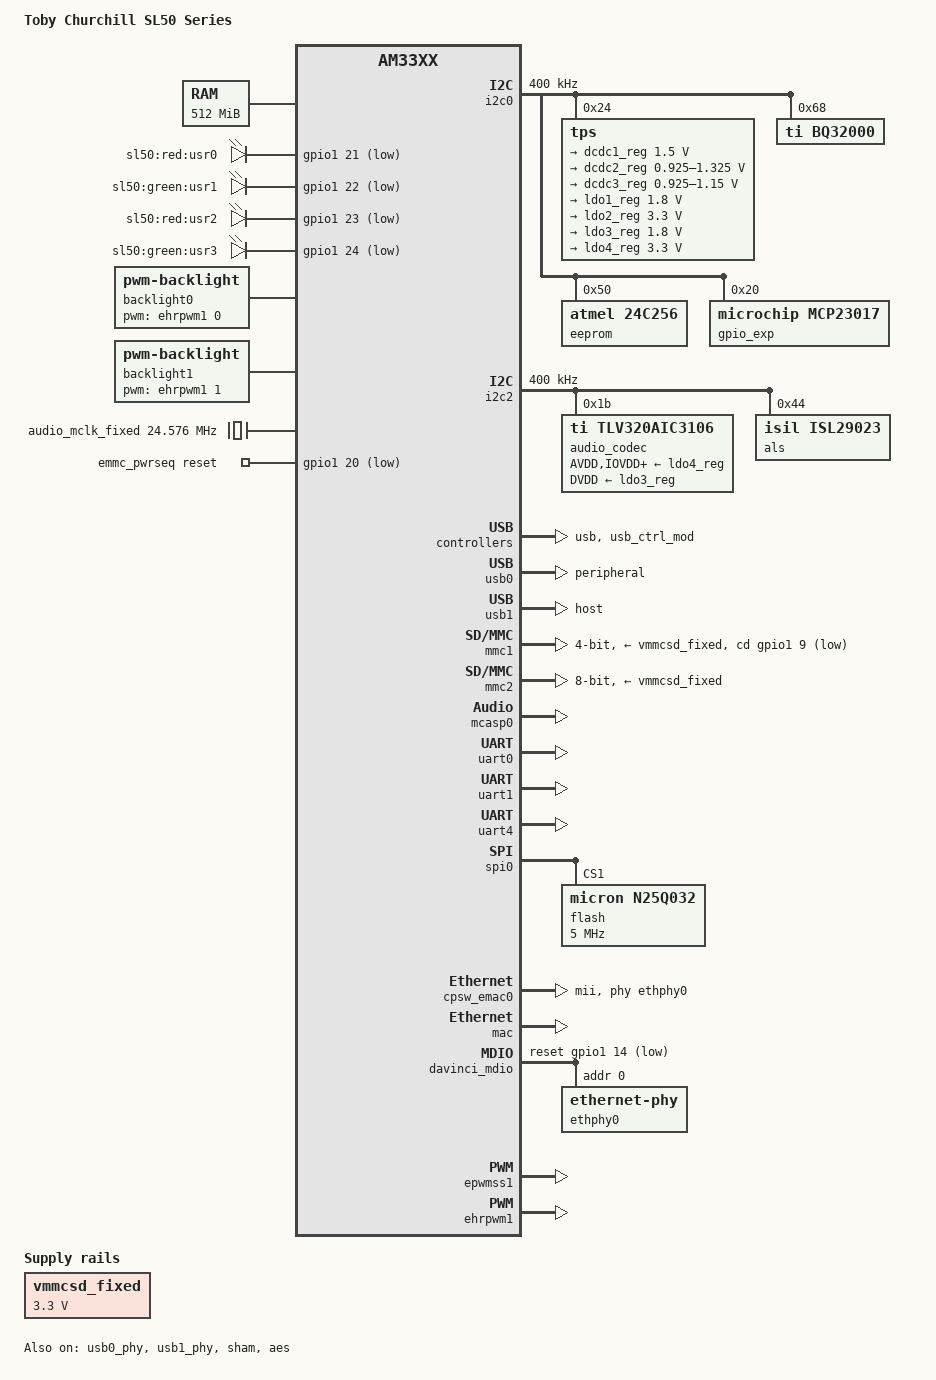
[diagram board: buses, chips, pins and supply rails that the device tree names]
// SPDX-License-Identifier: GPL-2.0-only
/*
 * Copyright (C) 2015 Toby Churchill - http://www.toby-churchill.com/
 */
/dts-v1/;

#include "am33xx.dtsi"

/ {
	model = "Toby Churchill SL50 Series";
	compatible = "tcl,am335x-sl50", "ti,am33xx";

	cpus {
		cpu@0 {
			cpu0-supply = <&dcdc2_reg>;
		};
	};

	memory@80000000 {
		device_type = "memory";
		reg = <0x80000000 0x20000000>; /* 512 MB */
	};

	chosen {
		stdout-path = &uart0;
	};

	leds {
		compatible = "gpio-leds";
		pinctrl-names = "default";
		pinctrl-0 = <&led_pins>;

		led0 {
			label = "sl50:red:usr0";
			gpios = <&gpio1 21 GPIO_ACTIVE_LOW>;
			default-state = "off";
		};

		led1 {
			label = "sl50:green:usr1";
			gpios = <&gpio1 22 GPIO_ACTIVE_LOW>;
			default-state = "off";
		};

		led2 {
			label = "sl50:red:usr2";
			gpios = <&gpio1 23 GPIO_ACTIVE_LOW>;
			default-state = "off";
		};

		led3 {
			label = "sl50:green:usr3";
			gpios = <&gpio1 24 GPIO_ACTIVE_LOW>;
			default-state = "off";
		};
	};

	backlight0: disp0 {
		compatible = "pwm-backlight";
		pwms = <&ehrpwm1 0 500000 0>;
		brightness-levels = <0 10 20 30 40 50 60 70 80 90 99>;
		default-brightness-level = <6>;
	};

	backlight1: disp1 {
		compatible = "pwm-backlight";
		pwms = <&ehrpwm1 1 500000 0>;
		brightness-levels = <0 10 20 30 40 50 60 70 80 90 99>;
		default-brightness-level = <6>;
	};

	clocks {
		compatible = "simple-bus";
		#address-cells = <1>;
		#size-cells = <0>;

		/* audio external oscillator */
		audio_mclk_fixed: oscillator@0 {
			compatible = "fixed-clock";
			#clock-cells = <0>;
			clock-frequency  = <24576000>;	/* 24.576MHz */
		};
	};

	sound {
		compatible = "ti,da830-evm-audio";
		ti,model = "AM335x-SL50";
		ti,audio-codec = <&audio_codec>;
		ti,mcasp-controller = <&mcasp0>;

		clocks = <&audio_mclk_fixed>;
		clock-names = "mclk";

		ti,audio-routing =
			"Headphone Jack",	"HPLOUT",
			"Headphone Jack",	"HPROUT",
			"LINE1R",               "Line In",
			"LINE1L",		"Line In";
	};

	emmc_pwrseq: pwrseq@0 {
		compatible = "mmc-pwrseq-emmc";
		pinctrl-names = "default";
		pinctrl-0 = <&emmc_pwrseq_pins>;
		reset-gpios = <&gpio1 20 GPIO_ACTIVE_LOW>;
	};

	vmmcsd_fixed: fixedregulator0 {
		compatible = "regulator-fixed";
		regulator-name = "vmmcsd_fixed";
		regulator-min-microvolt = <3300000>;
		regulator-max-microvolt = <3300000>;
	};
};

&am33xx_pinmux {
	pinctrl-names = "default";
	pinctrl-0 = <&lwb_pins>;

	led_pins: pinmux_led_pins {
		pinctrl-single,pins = <
			AM33XX_PADCONF(AM335X_PIN_GPMC_A5, PIN_OUTPUT, MUX_MODE7)	/* gpmc_a5.gpio1_21 */
			AM33XX_PADCONF(AM335X_PIN_GPMC_A6, PIN_OUTPUT, MUX_MODE7)	/* gpmc_a6.gpio1_22 */
			AM33XX_PADCONF(AM335X_PIN_GPMC_A7, PIN_OUTPUT, MUX_MODE7)	/* gpmc_a7.gpio1_23 */
			AM33XX_PADCONF(AM335X_PIN_GPMC_A8, PIN_OUTPUT, MUX_MODE7)	/* gpmc_a8.gpio1_24 */
		>;
	};

	uart0_pins: pinmux_uart0_pins {
		pinctrl-single,pins = <
			AM33XX_PADCONF(AM335X_PIN_UART0_RXD, PIN_INPUT_PULLUP, MUX_MODE0)
			AM33XX_PADCONF(AM335X_PIN_UART0_TXD, PIN_OUTPUT_PULLDOWN, MUX_MODE0)
		>;
	};

	uart1_pins: pinmux_uart1_pins {
		pinctrl-single,pins = <
			AM33XX_PADCONF(AM335X_PIN_UART1_RXD, PIN_INPUT_PULLUP, MUX_MODE0)
			AM33XX_PADCONF(AM335X_PIN_UART1_TXD, PIN_OUTPUT_PULLDOWN, MUX_MODE0)
		>;
	};

	uart4_pins: pinmux_uart4_pins {
		pinctrl-single,pins = <
			AM33XX_PADCONF(AM335X_PIN_GPMC_WAIT0, PIN_INPUT_PULLUP, MUX_MODE6)	/* gpmc_wait0.uart4_rxd */
			AM33XX_PADCONF(AM335X_PIN_GPMC_WPN, PIN_OUTPUT_PULLDOWN, MUX_MODE6)	/* gpmc_wpn.uart4_txd */
		>;
	};

	i2c0_pins: pinmux_i2c0_pins {
		pinctrl-single,pins = <
			AM33XX_PADCONF(AM335X_PIN_I2C0_SDA, PIN_INPUT_PULLUP, MUX_MODE0)
			AM33XX_PADCONF(AM335X_PIN_I2C0_SCL, PIN_INPUT_PULLUP, MUX_MODE0)
		>;
	};

	i2c2_pins: pinmux_i2c2_pins {
		pinctrl-single,pins = <
			AM33XX_PADCONF(AM335X_PIN_UART1_CTSN, PIN_INPUT_PULLUP, MUX_MODE3)	/* uart1_ctsn.i2c2_sda */
			AM33XX_PADCONF(AM335X_PIN_UART1_RTSN, PIN_INPUT_PULLUP, MUX_MODE3)	/* uart1_rtsn.i2c2_scl */
		>;
	};

	cpsw_default: cpsw_default {
		pinctrl-single,pins = <
			/* Slave 1 */
			AM33XX_PADCONF(AM335X_PIN_MII1_RX_ER, PIN_INPUT_PULLUP, MUX_MODE0)
			AM33XX_PADCONF(AM335X_PIN_MII1_TX_EN, PIN_OUTPUT_PULLDOWN, MUX_MODE0)
			AM33XX_PADCONF(AM335X_PIN_MII1_RX_DV, PIN_INPUT_PULLUP, MUX_MODE0)
			AM33XX_PADCONF(AM335X_PIN_MII1_TXD3, PIN_OUTPUT_PULLDOWN, MUX_MODE0)
			AM33XX_PADCONF(AM335X_PIN_MII1_TXD2, PIN_OUTPUT_PULLDOWN, MUX_MODE0)
			AM33XX_PADCONF(AM335X_PIN_MII1_TXD1, PIN_OUTPUT_PULLDOWN, MUX_MODE0)
			AM33XX_PADCONF(AM335X_PIN_MII1_TXD0, PIN_OUTPUT_PULLDOWN, MUX_MODE0)
			AM33XX_PADCONF(AM335X_PIN_MII1_TX_CLK, PIN_INPUT_PULLUP, MUX_MODE0)
			AM33XX_PADCONF(AM335X_PIN_MII1_RX_CLK, PIN_INPUT_PULLUP, MUX_MODE0)
			AM33XX_PADCONF(AM335X_PIN_MII1_RXD3, PIN_INPUT_PULLUP, MUX_MODE0)
			AM33XX_PADCONF(AM335X_PIN_MII1_RXD2, PIN_INPUT_PULLUP, MUX_MODE0)
			AM33XX_PADCONF(AM335X_PIN_MII1_RXD1, PIN_INPUT_PULLUP, MUX_MODE0)
			AM33XX_PADCONF(AM335X_PIN_MII1_RXD0, PIN_INPUT_PULLUP, MUX_MODE0)
		>;
	};

	cpsw_sleep: cpsw_sleep {
		pinctrl-single,pins = <
			/* Slave 1 reset value */
			AM33XX_PADCONF(AM335X_PIN_MII1_RX_ER, PIN_INPUT_PULLDOWN, MUX_MODE7)
			AM33XX_PADCONF(AM335X_PIN_MII1_TX_EN, PIN_INPUT_PULLDOWN, MUX_MODE7)
			AM33XX_PADCONF(AM335X_PIN_MII1_RX_DV, PIN_INPUT_PULLDOWN, MUX_MODE7)
			AM33XX_PADCONF(AM335X_PIN_MII1_TXD3, PIN_INPUT_PULLDOWN, MUX_MODE7)
			AM33XX_PADCONF(AM335X_PIN_MII1_TXD2, PIN_INPUT_PULLDOWN, MUX_MODE7)
			AM33XX_PADCONF(AM335X_PIN_MII1_TXD1, PIN_INPUT_PULLDOWN, MUX_MODE7)
			AM33XX_PADCONF(AM335X_PIN_MII1_TXD0, PIN_INPUT_PULLDOWN, MUX_MODE7)
			AM33XX_PADCONF(AM335X_PIN_MII1_TX_CLK, PIN_INPUT_PULLDOWN, MUX_MODE7)
			AM33XX_PADCONF(AM335X_PIN_MII1_RX_CLK, PIN_INPUT_PULLDOWN, MUX_MODE7)
			AM33XX_PADCONF(AM335X_PIN_MII1_RXD3, PIN_INPUT_PULLDOWN, MUX_MODE7)
			AM33XX_PADCONF(AM335X_PIN_MII1_RXD2, PIN_INPUT_PULLDOWN, MUX_MODE7)
			AM33XX_PADCONF(AM335X_PIN_MII1_RXD1, PIN_INPUT_PULLDOWN, MUX_MODE7)
			AM33XX_PADCONF(AM335X_PIN_MII1_RXD0, PIN_INPUT_PULLDOWN, MUX_MODE7)
		>;
	};

	davinci_mdio_default: davinci_mdio_default {
		pinctrl-single,pins = <
			/* MDIO */
			AM33XX_PADCONF(AM335X_PIN_MDIO, PIN_INPUT_PULLUP | SLEWCTRL_FAST, MUX_MODE0)
			AM33XX_PADCONF(AM335X_PIN_MDC, PIN_OUTPUT_PULLUP, MUX_MODE0)
		>;
	};

	davinci_mdio_sleep: davinci_mdio_sleep {
		pinctrl-single,pins = <
			/* MDIO reset value */
			AM33XX_PADCONF(AM335X_PIN_MDIO, PIN_INPUT_PULLDOWN, MUX_MODE7)
			AM33XX_PADCONF(AM335X_PIN_MDC, PIN_INPUT_PULLDOWN, MUX_MODE7)
		>;
	};

	mmc1_pins: pinmux_mmc1_pins {
		pinctrl-single,pins = <
			AM33XX_PADCONF(AM335X_PIN_UART0_RTSN, PIN_INPUT, MUX_MODE7)		/* uart0_rtsn.gpio1_9 */
		>;
	};

	emmc_pwrseq_pins: pinmux_emmc_pwrseq_pins {
		pinctrl-single,pins = <
			AM33XX_PADCONF(AM335X_PIN_GPMC_A4, PIN_OUTPUT_PULLUP, MUX_MODE7)	/* gpmc_a4.gpio1_20 */
		>;
	};

	emmc_pins: pinmux_emmc_pins {
		pinctrl-single,pins = <
			AM33XX_PADCONF(AM335X_PIN_GPMC_CSN1, PIN_INPUT_PULLUP, MUX_MODE2)	/* gpmc_csn1.mmc1_clk */
			AM33XX_PADCONF(AM335X_PIN_GPMC_CSN2, PIN_INPUT_PULLUP, MUX_MODE2)	/* gpmc_csn2.mmc1_cmd */
			AM33XX_PADCONF(AM335X_PIN_GPMC_AD0, PIN_INPUT_PULLUP, MUX_MODE1)	/* gpmc_ad0.mmc1_dat0 */
			AM33XX_PADCONF(AM335X_PIN_GPMC_AD1, PIN_INPUT_PULLUP, MUX_MODE1)	/* gpmc_ad1.mmc1_dat1 */
			AM33XX_PADCONF(AM335X_PIN_GPMC_AD2, PIN_INPUT_PULLUP, MUX_MODE1)	/* gpmc_ad2.mmc1_dat2 */
			AM33XX_PADCONF(AM335X_PIN_GPMC_AD3, PIN_INPUT_PULLUP, MUX_MODE1)	/* gpmc_ad3.mmc1_dat3 */
			AM33XX_PADCONF(AM335X_PIN_GPMC_AD4, PIN_INPUT_PULLUP, MUX_MODE1)	/* gpmc_ad4.mmc1_dat4 */
			AM33XX_PADCONF(AM335X_PIN_GPMC_AD5, PIN_INPUT_PULLUP, MUX_MODE1) 	/* gpmc_ad5.mmc1_dat5 */
			AM33XX_PADCONF(AM335X_PIN_GPMC_AD6, PIN_INPUT_PULLUP, MUX_MODE1)	/* gpmc_ad6.mmc1_dat6 */
			AM33XX_PADCONF(AM335X_PIN_GPMC_AD7, PIN_INPUT_PULLUP, MUX_MODE1)	/* gpmc_ad7.mmc1_dat7 */
		>;
	};

	audio_pins: pinmux_audio_pins {
		pinctrl-single,pins = <
			AM33XX_IOPAD(0x9ac, PIN_INPUT_PULLDOWN | MUX_MODE0)	/* mcasp0_ahcklx.mcasp0_ahclkx */
			AM33XX_IOPAD(0x994, PIN_INPUT_PULLDOWN | MUX_MODE0)	/* mcasp0_fsx.mcasp0_fsx */
			AM33XX_IOPAD(0x990, PIN_INPUT_PULLDOWN | MUX_MODE0)	/* mcasp0_aclkx.mcasp0_aclkx */
			AM33XX_IOPAD(0x998, PIN_INPUT_PULLDOWN | MUX_MODE0)	/* mcasp0_axr0.mcasp0_axr0 */
			AM33XX_IOPAD(0x99c, PIN_OUTPUT_PULLDOWN | MUX_MODE2)	/* mcasp0_ahclkr.mcasp0_axr2 */
		>;
	};

	ehrpwm1_pins: pinmux_ehrpwm1a_pins {
		pinctrl-single,pins = <
			AM33XX_IOPAD(0x848, PIN_OUTPUT | MUX_MODE6)	/* gpmc_a2.ehrpwm1a */
			AM33XX_IOPAD(0x84c, PIN_OUTPUT | MUX_MODE6)	/* gpmc_a3.ehrpwm1b */
		>;
	};

	spi0_pins: pinmux_spi0_pins {
		pinctrl-single,pins = <
			AM33XX_PADCONF(AM335X_PIN_SPI0_D0, PIN_INPUT_PULLUP, MUX_MODE0)	/* SPI0_MOSI */
			AM33XX_PADCONF(AM335X_PIN_SPI0_D1, PIN_INPUT_PULLUP, MUX_MODE0)	/* SPI0_MISO */
			AM33XX_PADCONF(AM335X_PIN_SPI0_SCLK, PIN_INPUT_PULLUP, MUX_MODE0)
			AM33XX_PADCONF(AM335X_PIN_SPI0_CS0, PIN_INPUT_PULLUP, MUX_MODE0)	/* SPI0_CS0 (NBATTSS) */
			AM33XX_PADCONF(AM335X_PIN_SPI0_CS1, PIN_INPUT_PULLUP, MUX_MODE0)	/* SPI0_CS1 (FPGA_FLASH_NCS) */
		>;
	};

	lwb_pins: pinmux_lwb_pins {
		pinctrl-single,pins = <
			AM33XX_IOPAD(0x9a4, PIN_OUTPUT | MUX_MODE7)	/* SoundPA_en - mcasp0_fsr.gpio3_19 */
			AM33XX_IOPAD(0x828, PIN_OUTPUT | MUX_MODE7)	/* nKbdOnC - gpmc_ad10.gpio0_26 */
			AM33XX_PADCONF(AM335X_PIN_GPMC_AD12, PIN_INPUT_PULLUP, MUX_MODE7)	/* nKbdInt - gpmc_ad12.gpio1_12 */
			AM33XX_PADCONF(AM335X_PIN_GPMC_AD13, PIN_INPUT_PULLUP, MUX_MODE7)	/* nKbdReset - gpmc_ad13.gpio1_13 */
			AM33XX_IOPAD(0x838, PIN_INPUT_PULLUP | MUX_MODE7)	/* nDispReset - gpmc_ad14.gpio1_14 */
			AM33XX_PADCONF(AM335X_PIN_GPMC_A1, PIN_INPUT_PULLUP, MUX_MODE7)	/* USB1_enPower - gpmc_a1.gpio1_17 */
			/* PDI Bus - Battery system */
			AM33XX_PADCONF(AM335X_PIN_GPMC_A0, PIN_INPUT_PULLUP, MUX_MODE7)	/* nBattReset  gpmc_a0.gpio1_16 */
			AM33XX_PADCONF(AM335X_PIN_GPMC_AD15, PIN_INPUT_PULLUP, MUX_MODE7)	/* BattPDIData gpmc_ad15.gpio1_15 */
		>;
	};
};

&i2c0 {
	status = "okay";
	pinctrl-names = "default";
	pinctrl-0 = <&i2c0_pins>;

	clock-frequency = <400000>;

	tps: tps@24 {
		reg = <0x24>;
	};

	bq32000: rtc@68 {
		compatible = "ti,bq32000";
		trickle-resistor-ohms = <1120>;
		reg = <0x68>;
	};

	eeprom: eeprom@50 {
		compatible = "atmel,24c256";
		reg = <0x50>;
	};

	gpio_exp: mcp23017@20 {
		compatible = "microchip,mcp23017";
		reg = <0x20>;
	};

};

&i2c2 {
	status = "okay";
	pinctrl-names = "default";
	pinctrl-0 = <&i2c2_pins>;

	clock-frequency = <400000>;

	audio_codec: tlv320aic3106@1b {
		status = "okay";
		compatible = "ti,tlv320aic3106";
		reg = <0x1b>;

		AVDD-supply = <&ldo4_reg>;
		IOVDD-supply = <&ldo4_reg>;
		DRVDD-supply = <&ldo4_reg>;
		DVDD-supply = <&ldo3_reg>;
	};

	/* Ambient Light Sensor */
	als: isl29023@44 {
		compatible = "isil,isl29023";
		reg = <0x44>;
	};
};

&rtc {
	status = "disabled";
};

&usb {
	status = "okay";
};

&usb_ctrl_mod {
	status = "okay";
};

&usb0_phy {
	status = "okay";
};

&usb1_phy {
	status = "okay";
};

&usb0 {
	status = "okay";
	dr_mode = "peripheral";
};

&usb1 {
	status = "okay";
	dr_mode = "host";
};

&cppi41dma  {
	status = "okay";
};

&mmc1 {
	status = "okay";
	pinctrl-names = "default";
	pinctrl-0 = <&mmc1_pins>;
	bus-width = <4>;
	cd-gpios = <&gpio1 9 GPIO_ACTIVE_LOW>;
	vmmc-supply = <&vmmcsd_fixed>;
};

&mmc2 {
	status = "okay";
	pinctrl-names = "default";
	pinctrl-0 = <&emmc_pins>;
	bus-width = <8>;
	vmmc-supply = <&vmmcsd_fixed>;
	mmc-pwrseq = <&emmc_pwrseq>;
};

&mcasp0 {
	status = "okay";
	pinctrl-names = "default";
	pinctrl-0 = <&audio_pins>;

	op-mode = <0>;  /* MCASP_ISS_MODE */
	tdm-slots = <2>;
	serial-dir = <
		2 0 1 0
		0 0 0 0
		0 0 0 0
		0 0 0 0
	>;
	tx-num-evt = <1>;
	rx-num-evt = <1>;
};

&uart0 {
	status = "okay";
	pinctrl-names = "default";
	pinctrl-0 = <&uart0_pins>;
};

&uart1 {
	status = "okay";
	pinctrl-names = "default";
	pinctrl-0 = <&uart1_pins>;
};

&uart4 {
	status = "okay";
	pinctrl-names = "default";
	pinctrl-0 = <&uart4_pins>;
};

&spi0 {
	status = "okay";
	pinctrl-names = "default";
	pinctrl-0 = <&spi0_pins>;

	flash: flash@1 {
		#address-cells = <1>;
		#size-cells = <1>;
		compatible = "micron,n25q032";
		reg = <1>;
		spi-max-frequency = <5000000>;
	};
};

#include "tps65217.dtsi"

&tps {
	ti,pmic-shutdown-controller;

	interrupt-parent = <&intc>;
	interrupts = <7>;	/* NNMI */

	regulators {
		dcdc1_reg: regulator@0 {
			/* VDDS_DDR */
			regulator-min-microvolt = <1500000>;
			regulator-max-microvolt = <1500000>;
			regulator-always-on;
		};

		dcdc2_reg: regulator@1 {
			/* VDD_MPU voltage limits 0.95V - 1.26V with +/-4% tolerance */
			regulator-name = "vdd_mpu";
			regulator-min-microvolt = <925000>;
			regulator-max-microvolt = <1325000>;
			regulator-boot-on;
			regulator-always-on;
		};

		dcdc3_reg: regulator@2 {
			/* VDD_CORE voltage limits 0.95V - 1.1V with +/-4% tolerance */
			regulator-name = "vdd_core";
			regulator-min-microvolt = <925000>;
			regulator-max-microvolt = <1150000>;
			regulator-boot-on;
			regulator-always-on;
		};

		ldo1_reg: regulator@3 {
			/* VRTC / VIO / VDDS*/
			regulator-always-on;
			regulator-min-microvolt = <1800000>;
			regulator-max-microvolt = <1800000>;
		};

		ldo2_reg: regulator@4 {
			/* VDD_3V3AUX */
			regulator-always-on;
			regulator-min-microvolt = <3300000>;
			regulator-max-microvolt = <3300000>;
		};

		ldo3_reg: regulator@5 {
			/* VDD_1V8 */
			regulator-min-microvolt = <1800000>;
			regulator-max-microvolt = <1800000>;
			regulator-always-on;
		};

		ldo4_reg: regulator@6 {
			/* VDD_3V3A */
			regulator-min-microvolt = <3300000>;
			regulator-max-microvolt = <3300000>;
			regulator-always-on;
		};
	};
};

&cpsw_emac0 {
	phy-mode = "mii";
	phy-handle = <&ethphy0>;
};

&mac {
	status = "okay";
	pinctrl-names = "default", "sleep";
	pinctrl-0 = <&cpsw_default>;
	pinctrl-1 = <&cpsw_sleep>;
};

&davinci_mdio {
	status = "okay";
	pinctrl-names = "default", "sleep";
	pinctrl-0 = <&davinci_mdio_default>;
	pinctrl-1 = <&davinci_mdio_sleep>;
	reset-gpios = <&gpio1 14 GPIO_ACTIVE_LOW>;
	reset-delay-us = <100>;   /* PHY datasheet states 100us min */

	ethphy0: ethernet-phy@0 {
		reg = <0>;
	};
};

&sham {
	status = "okay";
};

&aes {
	status = "okay";
};

&epwmss1 {
	status = "okay";
};

&ehrpwm1 {
	status = "okay";
	pinctrl-names = "default";
	pinctrl-0 = <&ehrpwm1_pins>;
};
